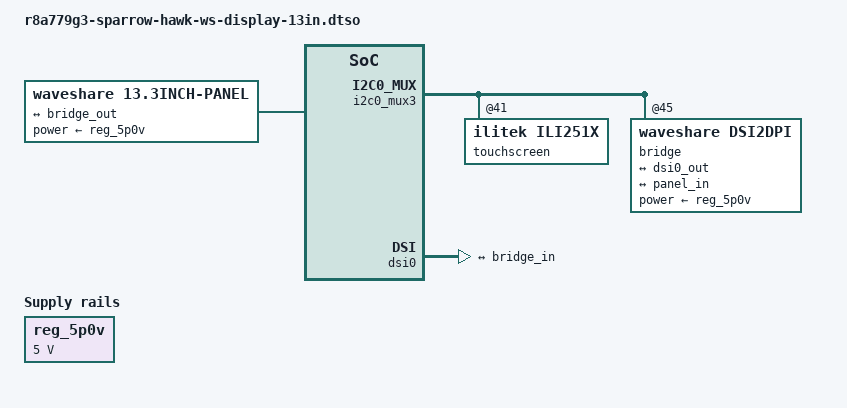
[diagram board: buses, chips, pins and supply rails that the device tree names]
// SPDX-License-Identifier: (GPL-2.0-only OR BSD-2-Clause)
/*
 * Device Tree Overlay for the Waveshare 13.3 MIPI DSI panel connected
 * to J4:DSI on R-Car V4H ES3.0 Sparrow Hawk board
 *
 * Copyright (C) 2025-2026 Marek Vasut <marek.vasut+renesas@mailbox.org>
 */

/dts-v1/;
/plugin/;

&{/} {
	panel {
		compatible = "waveshare,13.3inch-panel";
		power-supply = <&reg_5p0v>;

		port {
			panel_in: endpoint {
				remote-endpoint = <&bridge_out>;
			};
		};
	};

	reg_5p0v: regulator-5p0v {
		compatible = "regulator-fixed";
		regulator-name = "fixed-5.0V";
		regulator-min-microvolt = <5000000>;
		regulator-max-microvolt = <5000000>;
		regulator-always-on;
		regulator-boot-on;
	};
};

&i2c0_mux3 {
	#address-cells = <1>;
	#size-cells = <0>;

	touchscreen@41 {
		compatible = "ilitek,ili251x";
		reg = <0x41>;
	};

	bridge@45 {
		compatible = "waveshare,dsi2dpi";
		reg = <0x45>;
		power-supply = <&reg_5p0v>;

		ports {
			#address-cells = <1>;
			#size-cells = <0>;

			port@0 {
				reg = <0>;

				bridge_in: endpoint {
					data-lanes = <1 2 3 4>;
					remote-endpoint = <&dsi0_out>;
				};
			};

			port@1 {
				reg = <1>;

				bridge_out: endpoint {
					remote-endpoint = <&panel_in>;
				};
			};
		};
	};
};

&dsi0 {
	status = "okay";

	ports {
		#address-cells = <1>;
		#size-cells = <0>;

		port@1 {
			reg = <1>;

			dsi0_out: endpoint {
				remote-endpoint = <&bridge_in>;
				data-lanes = <1 2 3 4>;
			};
		};
	};
};
